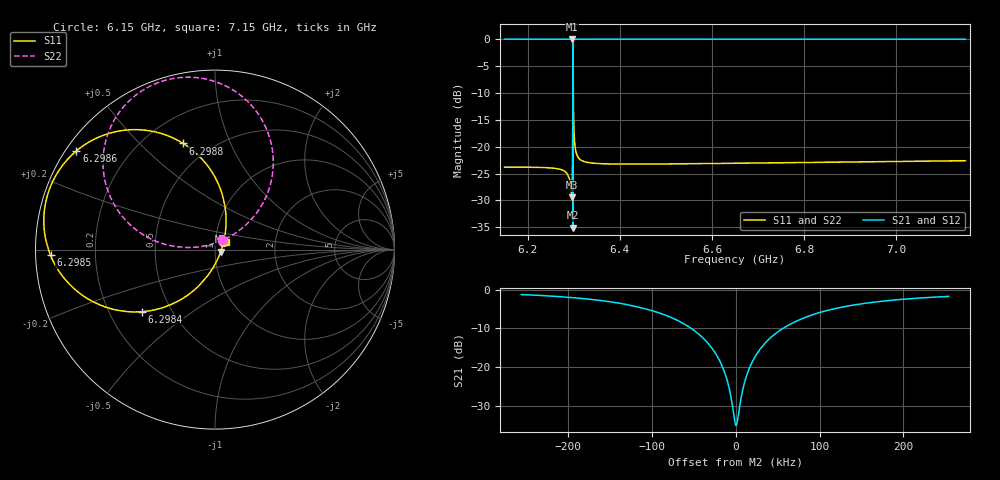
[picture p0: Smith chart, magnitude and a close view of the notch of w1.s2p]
! Sonnet Data File
! From: em Version : 14.52
! From Project: w1
! Data is De-embedded
! Data File Written: 07/15/2018 05:01:05
!< HDATE 07/14/2018 00:02:31
!< MDATE 07/14/2018 22:16:44
# GHZ S MA R 50.00000
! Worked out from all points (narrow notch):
!   803 points, 6.15 GHz to 7.15 GHz, reference 50 ohm
!   highest |S21| = -0.01 dB at 6.2956 GHz (marker M1); lowest = -35.1 dB at 6.2986 GHz (marker M2)
!   notch at M2: 34.8 dB deep, 43 kHz wide at half that depth
!   lowest |S11| = -29.4 dB at 6.2958 GHz (marker M3), VSWR 1.07, Z = 53.3 - j1.23 ohm
!   |S11| at or under -10 dB: start of sweep to 6.2982 GHz; 6.2992 GHz to end of sweep
!   |S22| runs from -29.4 to -0.1 dB; largest |S21 - S12| = 0
!   S11 on the Smith chart (normalised r, x): 6.15 GHz: 1.09, +0.10; 6.2984 GHz: 0.34, -0.33; 6.2985 GHz: 0.04, -0.02; 6.2986 GHz: 0.03, +0.32; 6.2988 GHz: 0.36, +0.68; 7.15 GHz: 1.12, +0.10
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6.15  0.0644 43.6  0.9979 -42.0  0.9979 -42.0  0.0644 52.5
!< P1 F=6.15 Eeff=(5.67099563 -5.1685e-6) Z0=(56.6683189 2.58286e-5) R=0.00716771 C=0.00330395
!< P2 F=6.15 Eeff=(5.67082264 -5.1692e-6) Z0=(55.8848227 2.5474e-5) R=0.00799574 C=0.00295944
6.265  0.0623 40.8  0.9981 -43.0  0.9981 -43.0  0.0623 53.3
6.29  0.05143 31.4  0.9987 -44.0  0.9987 -44.0  0.05144 60.7
6.2956  0.03411 -13.1  0.9994 -46.0  0.9994 -46.0  0.03422 101.2
6.2958  0.0339 -19.8  0.9994 -46.2  0.9994 -46.2  0.03402 107.4
6.298  0.213 -113.2  0.9757 -58.4  0.9757 -58.4  0.2134 175.8
6.298355  0.5328 -139.5  0.8388 -78.4  0.8388 -78.4  0.5336 161.2
6.298525  0.9165 -178.0  0.3571 -112.6  0.3571 -112.6  0.9177 127.4
6.298564  0.9725 168.4  0.1369 -121.0  0.1369 -121.0  0.9737 114.8
6.298586  0.9818 160.4  0.01766 -52.1  0.01766 -52.1  0.983 107.3
6.298605  0.9759 153.7  0.1133 28.6  0.1133 28.6  0.9771 101.0
6.298632  0.9477 144.5  0.2638 24.9  0.2638 24.9  0.9489 92.5
6.298675  0.8713 131.7  0.463 14.4  0.463 14.4  0.8723 80.7
6.298805  0.617 106.6  0.7792 -8.2  0.7792 -8.2  0.6176 58.5
6.2992  0.3048 82.1  0.9512 -28.6  0.9512 -28.6  0.3051 41.2
6.302  0.1093 58.3  0.994 -40.3  0.994 -40.3  0.1093 41.2
6.3168  0.07446 46.8  0.9972 -42.6  0.9972 -42.6  0.07446 48.1
6.485  0.069 42.0  0.9976 -44.2  0.9976 -44.2  0.06899 49.6
6.65  0.07006 40.6  0.9975 -45.3  0.9975 -45.3  0.07003 48.8
6.82  0.07136 39.2  0.9974 -46.5  0.9974 -46.5  0.07131 47.8
6.985  0.07267 38.0  0.9973 -47.6  0.9973 -47.6  0.07262 46.8
7.15  0.074 36.8  0.9973 -48.7  0.9973 -48.7  0.074 45.8
